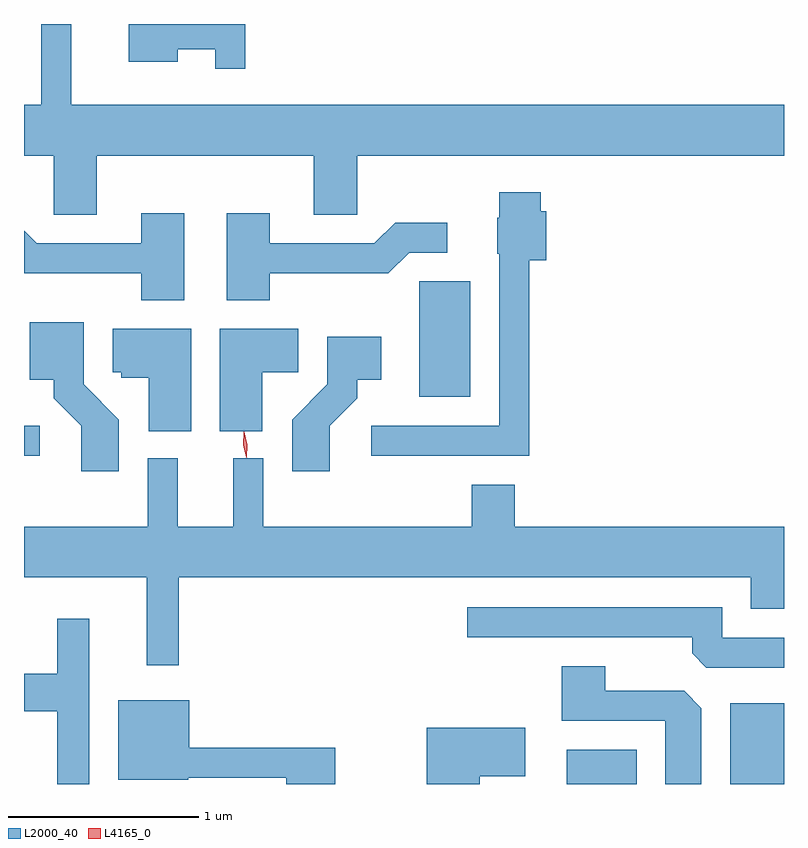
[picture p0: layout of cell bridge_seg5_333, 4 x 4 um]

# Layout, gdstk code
import gdstk
lib = gdstk.Library(unit=1e-6, precision=1e-09)
def R(c, l, rs):  # rectangles x0, y0, x1, y1
    for r in rs: c.add(gdstk.rectangle(r[:2], r[2:], *l))
def P(c, l, *ps):  # polygons
    for p in ps: c.add(gdstk.Polygon(p, *l))
L2000_40 = (2000, 40)
L4165_0 = (4165, 0)

bridge_seg5_333 = lib.new_cell('bridge_seg5_333')
R(bridge_seg5_333, L2000_40, [(726.971,1413.529,727.339,1413.709), (727.831,1413.529,728.115,1413.954), (724.115,1415.256,724.198,1415.414), (726.196,1415.566,726.464,1416.174)])
P(bridge_seg5_333, L2000_40, [(724.499,1416.836),(725.641,1416.836),(725.641,1416.526),(725.869,1416.526),(725.869,1416.836),(728.115,1416.836),(728.115,1417.104),(724.364,1417.104),(724.364,1417.529),(724.206,1417.529),(724.206,1417.104),(724.115,1417.104),(724.115,1416.836),(724.271,1416.836),(724.271,1416.526),(724.499,1416.526)],
  [(725.279,1417.529),(724.666,1417.529),(724.666,1417.331),(724.924,1417.331),(724.924,1417.396),(725.121,1417.396),(725.121,1417.293),(725.279,1417.293)],
  [(726.774,1416.286),(726.864,1416.286),(726.864,1416.544),(726.834,1416.544),(726.834,1416.644),(726.616,1416.644),(726.616,1416.51),(726.606,1416.51),(726.606,1416.32),(726.616,1416.32),(726.616,1415.414),(725.943,1415.414),(725.943,1415.256),(726.774,1415.256)],
  [(725.409,1416.216),(726.032,1416.216),(726.142,1416.326),(726.343,1416.326),(726.343,1416.484),(726.069,1416.484),(725.959,1416.374),(725.409,1416.374),(725.409,1416.534),(725.181,1416.534),(725.181,1416.076),(725.409,1416.076)],
  [(724.959,1416.534),(724.731,1416.534),(724.731,1416.374),(724.182,1416.374),(724.115,1416.441),(724.115,1416.216),(724.731,1416.216),(724.731,1416.076),(724.959,1416.076)],
  [(724.614,1415.447),(724.429,1415.632),(724.429,1415.959),(724.146,1415.959),(724.146,1415.656),(724.271,1415.656),(724.271,1415.559),(724.416,1415.414),(724.416,1415.176),(724.614,1415.176)],
  [(724.994,1415.924),(724.581,1415.924),(724.581,1415.696),(724.626,1415.696),(724.626,1415.666),(724.771,1415.666),(724.771,1415.386),(724.994,1415.386)],
  [(725.369,1415.696),(725.559,1415.696),(725.559,1415.924),(725.146,1415.924),(725.146,1415.386),(725.369,1415.386)],
  [(725.724,1415.414),(725.869,1415.559),(725.869,1415.656),(725.994,1415.656),(725.994,1415.884),(725.711,1415.884),(725.711,1415.632),(725.526,1415.447),(725.526,1415.176),(725.724,1415.176)],
  [(724.929,1414.616),(727.941,1414.616),(727.941,1414.451),(728.115,1414.451),(728.115,1414.884),(726.699,1414.884),(726.699,1415.104),(726.471,1415.104),(726.471,1414.884),(725.374,1414.884),(725.374,1415.243),(725.216,1415.243),(725.216,1414.884),(724.924,1414.884),(724.924,1415.243),(724.766,1415.243),(724.766,1414.884),(724.115,1414.884),(724.115,1414.616),(724.761,1414.616),(724.761,1414.153),(724.929,1414.153)],
  [(728.115,1414.299),(727.789,1414.299),(727.789,1414.459),(726.448,1414.459),(726.448,1414.301),(727.631,1414.301),(727.631,1414.217),(727.707,1414.141),(728.115,1414.141)],
  [(724.459,1414.398),(724.291,1414.398),(724.291,1414.109),(724.115,1414.109),(724.115,1413.911),(724.291,1413.911),(724.291,1413.529),(724.459,1413.529)],
  [(727.679,1413.929),(727.589,1414.019),(727.174,1414.019),(727.174,1414.149),(726.946,1414.149),(726.946,1413.861),(727.491,1413.861),(727.491,1413.529),(727.679,1413.529)],
  [(725.754,1413.719),(724.984,1413.719),(724.984,1413.969),(724.611,1413.969),(724.611,1413.551),(724.98,1413.551),(724.98,1413.561),(725.496,1413.561),(725.496,1413.529),(725.754,1413.529)],
  [(726.514,1413.571),(726.754,1413.571),(726.754,1413.824),(726.236,1413.824),(726.236,1413.529),(726.514,1413.529)])
P(bridge_seg5_333, L4165_0, [(725.287,1415.245),(725.287,1415.246),(725.27,1415.313),(725.272,1415.382),(725.272,1415.383),(725.273,1415.382),(725.29,1415.315),(725.288,1415.246)],
  [(725.285,1415.248),(725.284,1415.249),(725.269,1415.313),(725.272,1415.379),(725.272,1415.38),(725.273,1415.379),(725.288,1415.315),(725.286,1415.249)])

lib.write_gds('bridge_seg5_333.gds')
